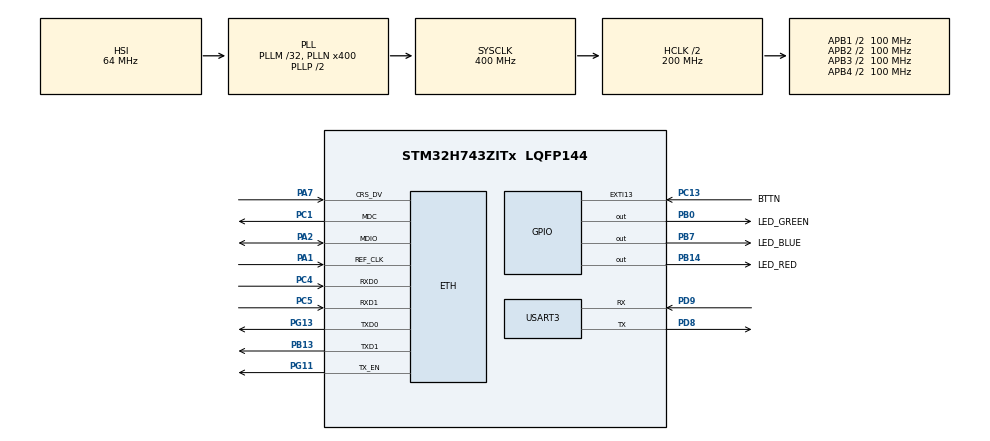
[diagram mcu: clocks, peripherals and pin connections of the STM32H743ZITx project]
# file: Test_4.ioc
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CORTEX_M7.AccessPermission_S-Cortex_Memory_Protection_Unit_Region1_Settings_S=MPU_REGION_FULL_ACCESS
CORTEX_M7.AccessPermission_S-Cortex_Memory_Protection_Unit_Region2_Settings_S=MPU_REGION_FULL_ACCESS
CORTEX_M7.BaseAddress_S-Cortex_Memory_Protection_Unit_Region1_Settings_S=0x30020000
CORTEX_M7.BaseAddress_S-Cortex_Memory_Protection_Unit_Region2_Settings_S=0x30040000
CORTEX_M7.CPU_DCache=Enabled
CORTEX_M7.CPU_ICache=Enabled
CORTEX_M7.DisableExec_S-Cortex_Memory_Protection_Unit_Region1_Settings_S=MPU_INSTRUCTION_ACCESS_DISABLE
CORTEX_M7.DisableExec_S-Cortex_Memory_Protection_Unit_Region2_Settings_S=MPU_INSTRUCTION_ACCESS_DISABLE
CORTEX_M7.Enable_S-Cortex_Memory_Protection_Unit_Region1_Settings_S=MPU_REGION_ENABLE
CORTEX_M7.Enable_S-Cortex_Memory_Protection_Unit_Region2_Settings_S=MPU_REGION_ENABLE
CORTEX_M7.IsBufferable_S-Cortex_Memory_Protection_Unit_Region2_Settings_S=MPU_ACCESS_BUFFERABLE
CORTEX_M7.IsShareable_S-Cortex_Memory_Protection_Unit_Region2_Settings_S=MPU_ACCESS_SHAREABLE
CORTEX_M7.MPU_Control=MPU_PRIVILEGED_DEFAULT
CORTEX_M7.Size_S-Cortex_Memory_Protection_Unit_Region1_Settings_S=MPU_REGION_SIZE_128KB
CORTEX_M7.Size_S-Cortex_Memory_Protection_Unit_Region2_Settings_S=MPU_REGION_SIZE_512B
CORTEX_M7.TypeExtField_S-Cortex_Memory_Protection_Unit_Region1_Settings_S=MPU_TEX_LEVEL1
CORTEX_M7.default_mode_Activation=1
Dma.Request0=USART3_TX
Dma.Request1=USART3_RX
Dma.USART3_RX.1.Direction=DMA_PERIPH_TO_MEMORY
Dma.USART3_RX.1.EventEnable=DISABLE
Dma.USART3_RX.1.FIFOMode=DMA_FIFOMODE_DISABLE
Dma.USART3_RX.1.Instance=DMA1_Stream1
Dma.USART3_RX.1.MemDataAlignment=DMA_MDATAALIGN_BYTE
Dma.USART3_RX.1.MemInc=DMA_MINC_ENABLE
Dma.USART3_RX.1.Mode=DMA_NORMAL
Dma.USART3_RX.1.PeriphDataAlignment=DMA_PDATAALIGN_BYTE
Dma.USART3_RX.1.PeriphInc=DMA_PINC_DISABLE
Dma.USART3_RX.1.Polarity=HAL_DMAMUX_REQ_GEN_RISING
Dma.USART3_RX.1.Priority=DMA_PRIORITY_VERY_HIGH
Dma.USART3_RX.1.RequestNumber=1
Dma.USART3_RX.1.SignalID=NONE
Dma.USART3_RX.1.SyncEnable=DISABLE
Dma.USART3_RX.1.SyncPolarity=HAL_DMAMUX_SYNC_NO_EVENT
Dma.USART3_RX.1.SyncRequestNumber=1
Dma.USART3_RX.1.SyncSignalID=NONE
Dma.USART3_TX.0.Direction=DMA_MEMORY_TO_PERIPH
Dma.USART3_TX.0.EventEnable=DISABLE
Dma.USART3_TX.0.FIFOMode=DMA_FIFOMODE_DISABLE
Dma.USART3_TX.0.Instance=DMA1_Stream0
Dma.USART3_TX.0.MemDataAlignment=DMA_MDATAALIGN_BYTE
Dma.USART3_TX.0.MemInc=DMA_MINC_ENABLE
Dma.USART3_TX.0.Mode=DMA_NORMAL
Dma.USART3_TX.0.PeriphDataAlignment=DMA_PDATAALIGN_BYTE
Dma.USART3_TX.0.PeriphInc=DMA_PINC_DISABLE
Dma.USART3_TX.0.Polarity=HAL_DMAMUX_REQ_GEN_RISING
Dma.USART3_TX.0.Priority=DMA_PRIORITY_MEDIUM
Dma.USART3_TX.0.RequestNumber=1
Dma.USART3_TX.0.SignalID=NONE
Dma.USART3_TX.0.SyncEnable=DISABLE
Dma.USART3_TX.0.SyncPolarity=HAL_DMAMUX_SYNC_NO_EVENT
Dma.USART3_TX.0.SyncRequestNumber=1
Dma.USART3_TX.0.SyncSignalID=NONE
ETH.MediaInterface=HAL_ETH_RMII_MODE
ETH.RxDescAddress=0x30040000
ETH.TxDescAddress=0x30040100
FREERTOS.INCLUDE_xTaskGetSchedulerState=1
FREERTOS.INCLUDE_xTimerPendFunctionCall=0
FREERTOS.Tasks01=defaultTask,24,512,StartDefaultTask,Default,NULL,Dynamic,NULL,NULL
FREERTOS.configCHECK_FOR_STACK_OVERFLOW=2
FREERTOS.configMINIMAL_STACK_SIZE=512
FREERTOS.configTOTAL_HEAP_SIZE=64000
FREERTOS.configUSE_APPLICATION_TASK_TAG=1
FREERTOS.configUSE_IDLE_HOOK=1
FREERTOS.configUSE_NEWLIB_REENTRANT=1
FREERTOS.configUSE_OS2_EVENTFLAGS_FROM_ISR=0
FREERTOS.configUSE_OS2_TIMER=0
FREERTOS.configUSE_TICK_HOOK=1
LWIP.BSP.number=1
LWIP.DEFAULT_RAW_RECVMBOX_SIZE=6
LWIP.DEFAULT_TCP_RECVMBOX_SIZE=6
LWIP.DEFAULT_THREAD_STACKSIZE=2048
LWIP.GATEWAY_ADDRESS=192.168.010.001
LWIP.HTTPD_ENABLE_HTTPS=0
LWIP.IP_ADDRESS=192.168.010.008
LWIP.LWIP_DHCP=1
LWIP.LWIP_DNS=1
LWIP.LWIP_EVENT_API=0
LWIP.LWIP_HTTPD=1
LWIP.LWIP_INCLUDED_POLARSSL_ARC4=0
LWIP.LWIP_INCLUDED_POLARSSL_DES=0
LWIP.LWIP_INCLUDED_POLARSSL_MD4=0
LWIP.LWIP_INCLUDED_POLARSSL_MD5=0
LWIP.LWIP_INCLUDED_POLARSSL_SHA1=0
LWIP.LWIP_RAM_HEAP_POINTER=0x30020200
LWIP.LWIP_RAW=1
LWIP.LWIP_SMTP=0
LWIP.LWIP_SNTP=0
LWIP.LWIP_SO_RCVTIMEO=1
LWIP.LWIP_TCP_KEEPALIVE=1
LWIP.LWIP_TIMERS=1
LWIP.LWIP_USE_EXTERNAL_MBEDTLS=1
LWIP.MEMP_NUM_NETBUF=4
LWIP.MEMP_NUM_NETCONN=8
LWIP.MEMP_NUM_SELECT_CB=8
LWIP.MEMP_NUM_TCPIP_MSG_API=16
LWIP.MEMP_NUM_TCP_PCB=10
LWIP.MEM_SIZE=130000
LWIP.NETMASK_ADDRESS=255.255.255.000
LWIP.PBUF_POOL_BUFSIZE=1528
LWIP.SLIPIF_THREAD_STACKSIZE=2048
LWIP.TCPIP_THREAD_STACKSIZE=2048
LWIP.TCP_MSS=1460
LWIP.TCP_SNDLOWAT=2921
LWIP.TCP_SND_BUF=4*1460
LWIP.TCP_WND=2920
LWIP.Version=v2.1.2_Cube
LWIP0.BSP.STBoard=false
LWIP0.BSP.api=BSP_COMPONENT_DRIVER
LWIP0.BSP.component=LAN8742
LWIP0.BSP.instance=LAN8742
LWIP0.BSP.name=Driver_PHY
LWIP0.BSP.semaphore=S_LAN8742
LWIP0.BSP.solution=LAN8742
MBEDTLS.MBEDTLS_ECP_DP_BP512R1_ENABLED=1
MBEDTLS.MBEDTLS_ECP_DP_CURVE25519_ENABLED=1
MBEDTLS.MBEDTLS_MPI_MAX_SIZE=256
MBEDTLS.MBEDTLS_MPI_MAX_SIZE_ENABLE=1
MBEDTLS.MBEDTLS_NO_UDBL_DIVISION=0
MBEDTLS.MBEDTLS_PADLOCK_C=0
MBEDTLS.MBEDTLS_PEM_WRITE_C=0
MBEDTLS.MBEDTLS_PKCS12_C=0
MBEDTLS.MBEDTLS_PKCS5_C=0
MBEDTLS.MBEDTLS_PK_WRITE_C=0
MBEDTLS.MBEDTLS_RIPEMD160_C=0
MBEDTLS.MBEDTLS_RNG_IP=HW_RNG
MBEDTLS.MBEDTLS_SSL_ALL_ALERT_MESSAGES=0
MBEDTLS.MBEDTLS_SSL_ALPN=0
MBEDTLS.MBEDTLS_SSL_CACHE_C=0
MBEDTLS.MBEDTLS_SSL_CBC_RECORD_SPLITTING=0
MBEDTLS.MBEDTLS_SSL_CIPHERSUITES_ENABLE=1
MBEDTLS.MBEDTLS_SSL_COOKIE_C=0
MBEDTLS.MBEDTLS_SSL_ENCRYPT_THEN_MAC=0
MBEDTLS.MBEDTLS_SSL_EXTENDED_MASTER_SECRET=0
MBEDTLS.MBEDTLS_SSL_FALLBACK_SCSV=0
MBEDTLS.MBEDTLS_SSL_MAX_CONTENT_LEN=4096
MBEDTLS.MBEDTLS_SSL_MAX_CONTENT_LEN_ENABLE=1
MBEDTLS.MBEDTLS_SSL_PROTO_DTLS=0
MBEDTLS.MBEDTLS_SSL_PROTO_TLS1=0
MBEDTLS.MBEDTLS_SSL_PROTO_TLS1_1=0
MBEDTLS.MBEDTLS_SSL_RENEGOTIATION=0
MBEDTLS.MBEDTLS_SSL_SRV_RESPECT_CLIENT_PREFERENCE=1
MBEDTLS.MBEDTLS_SSL_TICKET_C=0
MBEDTLS.MBEDTLS_VERSION_C=0
MBEDTLS.MBEDTLS_X509_CRL_PARSE_C=0
MBEDTLS.MBEDTLS_X509_CSR_PARSE_C=0
MBEDTLS.MBEDTLS_XTEA_C=0
Mcu.Family=STM32H7
Mcu.Name=STM32H743ZITx
Mcu.Package=LQFP144
NVIC.DMA1_Stream0_IRQn=true\:5\:0\:false\:false\:true\:true\:false\:true\:true
NVIC.DMA1_Stream1_IRQn=true\:5\:0\:false\:false\:true\:true\:false\:true\:true
NVIC.ETH_IRQn=true\:5\:0\:false\:false\:true\:true\:true\:true\:true
NVIC.EXTI15_10_IRQn=true\:5\:0\:false\:false\:true\:true\:true\:true\:true
NVIC.FLASH_IRQn=true\:5\:0\:false\:false\:true\:true\:true\:true\:true
NVIC.PriorityGroup=NVIC_PRIORITYGROUP_4
NVIC.TIM6_DAC_IRQn=true\:15\:0\:false\:false\:true\:false\:false\:true\:true
NVIC.TimeBase=TIM6_DAC_IRQn
NVIC.TimeBaseIP=TIM6
NVIC.USART3_IRQn=true\:5\:0\:false\:false\:true\:true\:true\:true\:true
PA1.GPIO_Speed=GPIO_SPEED_FREQ_VERY_HIGH
PA1.Mode=RMII
PA1.Signal=ETH_REF_CLK
PA2.GPIO_Speed=GPIO_SPEED_FREQ_VERY_HIGH
PA2.Mode=RMII
PA2.Signal=ETH_MDIO
PA7.GPIO_Speed=GPIO_SPEED_FREQ_VERY_HIGH
PA7.Mode=RMII
PA7.Signal=ETH_CRS_DV
PB0.GPIO_Label=LED_GREEN
PB0.Signal=GPIO_Output
PB13.GPIO_Speed=GPIO_SPEED_FREQ_VERY_HIGH
PB13.Mode=RMII
PB13.Signal=ETH_TXD1
PB14.GPIO_Label=LED_RED
PB14.Signal=GPIO_Output
PB7.GPIO_Label=LED_BLUE
PB7.Signal=GPIO_Output
PC1.GPIO_Speed=GPIO_SPEED_FREQ_VERY_HIGH
PC1.Mode=RMII
PC1.Signal=ETH_MDC
PC13.GPIO_Label=BTTN
PC13.GPIO_ModeDefaultEXTI=GPIO_MODE_IT_RISING_FALLING
PC13.Signal=GPXTI13
PC4.GPIO_Speed=GPIO_SPEED_FREQ_VERY_HIGH
PC4.Mode=RMII
PC4.Signal=ETH_RXD0
PC5.GPIO_Speed=GPIO_SPEED_FREQ_VERY_HIGH
PC5.Mode=RMII
PC5.Signal=ETH_RXD1
PD8.Mode=Asynchronous
PD8.Signal=USART3_TX
PD9.Mode=Asynchronous
PD9.Signal=USART3_RX
PG11.GPIO_Speed=GPIO_SPEED_FREQ_VERY_HIGH
PG11.Mode=RMII
PG11.Signal=ETH_TX_EN
PG13.GPIO_Speed=GPIO_SPEED_FREQ_VERY_HIGH
PG13.Mode=RMII
PG13.Signal=ETH_TXD0
ProjectManager.HeapSize=0x200
ProjectManager.StackSize=0x400
ProjectManager.TargetToolchain=STM32CubeIDE
RCC.ADCFreq_Value=129000000
RCC.APB1Freq_Value=100000000
RCC.APB2Freq_Value=100000000
RCC.APB3Freq_Value=100000000
RCC.APB4Freq_Value=100000000
RCC.CortexFreq_Value=400000000
RCC.D1PPRE=RCC_APB3_DIV2
RCC.D2PPRE1=RCC_APB1_DIV2
RCC.D2PPRE2=RCC_APB2_DIV2
RCC.D3PPRE=RCC_APB4_DIV2
RCC.DIVN1=400
RCC.HCLKFreq_Value=200000000
RCC.HPRE=RCC_HCLK_DIV2
RCC.SYSCLKFreq_VALUE=400000000
RCC.SYSCLKSource=RCC_SYSCLKSOURCE_PLLCLK
RCC.USBFreq_Value=400000000
USART3.VirtualMode-Asynchronous=VM_ASYNC
VP_FREERTOS_VS_CMSIS_V2.Mode=CMSIS_V2
VP_LWIP_VS_Enabled.Mode=Enabled
VP_MBEDTLS_VS_MBEDTLS.Mode=Enabled
VP_RNG_VS_RNG.Mode=RNG_Activate
VP_SYS_VS_tim6.Mode=TIM6
board=custom

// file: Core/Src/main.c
/* USER CODE BEGIN Header */
/**
  ******************************************************************************
  * @file           : main.c
  * @brief          : Main program body
  ******************************************************************************
  * @attention
  *
  * Copyright (c) 2024 STMicroelectronics.
  * All rights reserved.
  *
  * This software is licensed under terms that can be found in the LICENSE file
  * in the root directory of this software component.
  * If no LICENSE file comes with this software, it is provided AS-IS.
  *
  ******************************************************************************
  */
/* USER CODE END Header */
#include <tls_dat.h>
#include "main.h"
#include "cmsis_os.h"
//#include "mbedtls.h"

/* USER CODE BEGIN Includes */
#include "lwip.h"

#include "queue.h"
//#include "console_uart.h"
#include "tcp_proc.h"
#include "tls_proc.h"

/* USER CODE END Includes */

RNG_HandleTypeDef hrng;

UART_HandleTypeDef huart3;
DMA_HandleTypeDef hdma_usart3_tx;
DMA_HandleTypeDef hdma_usart3_rx;

/* Definitions for defaultTask */
osThreadId_t defaultTaskHandle;
const osThreadAttr_t defaultTask_attributes = {
  .name = "defaultTask",
  .stack_size = 512 * 4,
  .priority = (osPriority_t) osPriorityNormal,
};
/* USER CODE BEGIN PV */

osThreadId_t 	ConsoleTaskHandle = NULL;
osThreadId_t 	UartRxTaskHandle = NULL;
osThreadId_t 	FlashTaskHandle = NULL;
/* USER CODE END PV */

void SystemClock_Config(void);
static void MPU_Config(void);
static void MX_GPIO_Init(void);
static void MX_DMA_Init(void);
static void MX_USART3_UART_Init(void);
static void MX_RNG_Init(void);
void StartDefaultTask(void *argument);

int main(void)
{

  /* MPU Configuration--------------------------------------------------------*/
  MPU_Config();

  /* Enable the CPU Cache */

  /* Enable I-Cache---------------------------------------------------------*/
  SCB_EnableICache();

  /* Enable D-Cache---------------------------------------------------------*/
  SCB_EnableDCache();

  /* MCU Configuration--------------------------------------------------------*/

  /* Reset of all peripherals, Initializes the Flash interface and the Systick. */
  HAL_Init();

  /* Configure the system clock */
  SystemClock_Config();

  /* Initialize all configured peripherals */
  MX_GPIO_Init();
  MX_DMA_Init();
  MX_USART3_UART_Init();
  MX_RNG_Init();
  /* Call PreOsInit function */
//  MX_MBEDTLS_Init();
  /* USER CODE BEGIN 2 */
  // Reset IP-settings if button pressed 2 sec.
  	uint32_t tickstart = HAL_GetTick();
	while (HAL_GPIO_ReadPin(BTTN_GPIO_Port, BTTN_Pin) == GPIO_PIN_SET)
	{
		if (HAL_GetTick() - tickstart >= 2000)
		{
			if (ResetSettings() != 0)
				while (1)
				{

				}
			break;
		}
	}

  /* USER CODE END 2 */

  /* Init scheduler */
  osKernelInitialize();

  /* Create the thread(s) */
  /* creation of defaultTask */
  defaultTaskHandle = osThreadNew(StartDefaultTask, NULL, &defaultTask_attributes);

  /* Start scheduler */
  osKernelStart();

  /* We should never get here as control is now taken by the scheduler */

  /* Infinite loop */
  while (1)
  {

  }
}

void SystemClock_Config(void)
{
  RCC_OscInitTypeDef RCC_OscInitStruct = {0};
  RCC_ClkInitTypeDef RCC_ClkInitStruct = {0};

  /** Supply configuration update enable
  */
  HAL_PWREx_ConfigSupply(PWR_LDO_SUPPLY);

  /** Configure the main internal regulator output voltage
  */
  __HAL_PWR_VOLTAGESCALING_CONFIG(PWR_REGULATOR_VOLTAGE_SCALE1);

  while(!__HAL_PWR_GET_FLAG(PWR_FLAG_VOSRDY)) {}

  /** Initializes the RCC Oscillators according to the specified parameters
  * in the RCC_OscInitTypeDef structure.
  */
  RCC_OscInitStruct.OscillatorType = RCC_OSCILLATORTYPE_HSI48|RCC_OSCILLATORTYPE_HSI;
  RCC_OscInitStruct.HSIState = RCC_HSI_DIV1;
  RCC_OscInitStruct.HSICalibrationValue = RCC_HSICALIBRATION_DEFAULT;
  RCC_OscInitStruct.HSI48State = RCC_HSI48_ON;
  RCC_OscInitStruct.PLL.PLLState = RCC_PLL_ON;
  RCC_OscInitStruct.PLL.PLLSource = RCC_PLLSOURCE_HSI;
  RCC_OscInitStruct.PLL.PLLM = 32;
  RCC_OscInitStruct.PLL.PLLN = 400;
  RCC_OscInitStruct.PLL.PLLP = 2;
  RCC_OscInitStruct.PLL.PLLQ = 2;
  RCC_OscInitStruct.PLL.PLLR = 2;
  RCC_OscInitStruct.PLL.PLLRGE = RCC_PLL1VCIRANGE_1;
  RCC_OscInitStruct.PLL.PLLVCOSEL = RCC_PLL1VCOWIDE;
  RCC_OscInitStruct.PLL.PLLFRACN = 0;
  if (HAL_RCC_OscConfig(&RCC_OscInitStruct) != HAL_OK)
  {
    Error_Handler();
  }

  /** Initializes the CPU, AHB and APB buses clocks
  */
  RCC_ClkInitStruct.ClockType = RCC_CLOCKTYPE_HCLK|RCC_CLOCKTYPE_SYSCLK
                              |RCC_CLOCKTYPE_PCLK1|RCC_CLOCKTYPE_PCLK2
                              |RCC_CLOCKTYPE_D3PCLK1|RCC_CLOCKTYPE_D1PCLK1;
  RCC_ClkInitStruct.SYSCLKSource = RCC_SYSCLKSOURCE_PLLCLK;
  RCC_ClkInitStruct.SYSCLKDivider = RCC_SYSCLK_DIV1;
  RCC_ClkInitStruct.AHBCLKDivider = RCC_HCLK_DIV2;
  RCC_ClkInitStruct.APB3CLKDivider = RCC_APB3_DIV2;
  RCC_ClkInitStruct.APB1CLKDivider = RCC_APB1_DIV2;
  RCC_ClkInitStruct.APB2CLKDivider = RCC_APB2_DIV2;
  RCC_ClkInitStruct.APB4CLKDivider = RCC_APB4_DIV2;

  if (HAL_RCC_ClockConfig(&RCC_ClkInitStruct, FLASH_LATENCY_2) != HAL_OK)
  {
    Error_Handler();
  }
}

static void MX_RNG_Init(void)
{

  hrng.Instance = RNG;
  hrng.Init.ClockErrorDetection = RNG_CED_ENABLE;
  if (HAL_RNG_Init(&hrng) != HAL_OK)
  {
    Error_Handler();
  }

}

static void MX_USART3_UART_Init(void)
{

  huart3.Instance = USART3;
  huart3.Init.BaudRate = 115200;
  huart3.Init.WordLength = UART_WORDLENGTH_8B;
  huart3.Init.StopBits = UART_STOPBITS_1;
  huart3.Init.Parity = UART_PARITY_NONE;
  huart3.Init.Mode = UART_MODE_TX_RX;
  huart3.Init.HwFlowCtl = UART_HWCONTROL_NONE;
  huart3.Init.OverSampling = UART_OVERSAMPLING_16;
  huart3.Init.OneBitSampling = UART_ONE_BIT_SAMPLE_DISABLE;
  huart3.Init.ClockPrescaler = UART_PRESCALER_DIV1;
  huart3.AdvancedInit.AdvFeatureInit = UART_ADVFEATURE_NO_INIT;
  if (HAL_UART_Init(&huart3) != HAL_OK)
  {
    Error_Handler();
  }
  if (HAL_UARTEx_SetTxFifoThreshold(&huart3, UART_TXFIFO_THRESHOLD_1_8) != HAL_OK)
  {
    Error_Handler();
  }
  if (HAL_UARTEx_SetRxFifoThreshold(&huart3, UART_RXFIFO_THRESHOLD_1_8) != HAL_OK)
  {
    Error_Handler();
  }
  if (HAL_UARTEx_DisableFifoMode(&huart3) != HAL_OK)
  {
    Error_Handler();
  }

}

static void MX_DMA_Init(void)
{

  /* DMA controller clock enable */
  __HAL_RCC_DMA1_CLK_ENABLE();

  /* DMA interrupt init */
  /* DMA1_Stream0_IRQn interrupt configuration */
  HAL_NVIC_SetPriority(DMA1_Stream0_IRQn, 5, 0);
  HAL_NVIC_EnableIRQ(DMA1_Stream0_IRQn);
  /* DMA1_Stream1_IRQn interrupt configuration */
  HAL_NVIC_SetPriority(DMA1_Stream1_IRQn, 5, 0);
  HAL_NVIC_EnableIRQ(DMA1_Stream1_IRQn);

}

static void MX_GPIO_Init(void)
{
  GPIO_InitTypeDef GPIO_InitStruct = {0};

  /* GPIO Ports Clock Enable */
  __HAL_RCC_GPIOC_CLK_ENABLE();
  __HAL_RCC_GPIOA_CLK_ENABLE();
  __HAL_RCC_GPIOB_CLK_ENABLE();
  __HAL_RCC_GPIOD_CLK_ENABLE();
  __HAL_RCC_GPIOG_CLK_ENABLE();

  /*Configure GPIO pin Output Level */
  HAL_GPIO_WritePin(GPIOB, LED_GREEN_Pin|LED_RED_Pin|LED_BLUE_Pin, GPIO_PIN_RESET);

  /*Configure GPIO pin : BTTN_Pin */
  GPIO_InitStruct.Pin = BTTN_Pin;
  GPIO_InitStruct.Mode = GPIO_MODE_IT_RISING_FALLING;
  GPIO_InitStruct.Pull = GPIO_NOPULL;
  HAL_GPIO_Init(BTTN_GPIO_Port, &GPIO_InitStruct);

  /*Configure GPIO pins : LED_GREEN_Pin LED_RED_Pin LED_BLUE_Pin */
  GPIO_InitStruct.Pin = LED_GREEN_Pin|LED_RED_Pin|LED_BLUE_Pin;
  GPIO_InitStruct.Mode = GPIO_MODE_OUTPUT_PP;
  GPIO_InitStruct.Pull = GPIO_NOPULL;
  GPIO_InitStruct.Speed = GPIO_SPEED_FREQ_LOW;
  HAL_GPIO_Init(GPIOB, &GPIO_InitStruct);

  /* EXTI interrupt init*/
  HAL_NVIC_SetPriority(EXTI15_10_IRQn, 5, 0);
  HAL_NVIC_EnableIRQ(EXTI15_10_IRQn);

}

void StartDefaultTask(void *argument)
{
  /* USER CODE BEGIN 5 */
	/* init code for LWIP */
	  MX_LWIP_Init();

	  ConsoleTaskHandle = StartConsoleTask();
	  UartRxTaskHandle = StartUartRxTask();
	  FlashTaskHandle = StartFlashProcess();

//	RunAppTcpServer (HTTPS_SERVER_PORT);
//	RunAppTcpServer (HTTP_SERVER_PORT);
	  RunAppTcpClient (SMTP_PORT);

//	  osThreadExit();
  /* Infinite loop */
  for(;;)
  {
	  HAL_GPIO_TogglePin(LED_RED_GPIO_Port, LED_RED_Pin);
	  osDelay(1000);
  }
  /* USER CODE END 5 */
}

 /* MPU Configuration */

void MPU_Config(void)
{
  MPU_Region_InitTypeDef MPU_InitStruct = {0};

  /* Disables the MPU */
  HAL_MPU_Disable();

  /** Initializes and configures the Region and the memory to be protected
  */
  MPU_InitStruct.Enable = MPU_REGION_ENABLE;
  MPU_InitStruct.Number = MPU_REGION_NUMBER0;
  MPU_InitStruct.BaseAddress = 0x0;
  MPU_InitStruct.Size = MPU_REGION_SIZE_4GB;
  MPU_InitStruct.SubRegionDisable = 0x87;
  MPU_InitStruct.TypeExtField = MPU_TEX_LEVEL0;
  MPU_InitStruct.AccessPermission = MPU_REGION_NO_ACCESS;
  MPU_InitStruct.DisableExec = MPU_INSTRUCTION_ACCESS_DISABLE;
  MPU_InitStruct.IsShareable = MPU_ACCESS_SHAREABLE;
  MPU_InitStruct.IsCacheable = MPU_ACCESS_NOT_CACHEABLE;
  MPU_InitStruct.IsBufferable = MPU_ACCESS_NOT_BUFFERABLE;

  HAL_MPU_ConfigRegion(&MPU_InitStruct);

  /** Initializes and configures the Region and the memory to be protected
  */
  MPU_InitStruct.Number = MPU_REGION_NUMBER1;
  MPU_InitStruct.BaseAddress = 0x30020000;
  MPU_InitStruct.Size = MPU_REGION_SIZE_128KB;
  MPU_InitStruct.SubRegionDisable = 0x0;
  MPU_InitStruct.TypeExtField = MPU_TEX_LEVEL1;
  MPU_InitStruct.AccessPermission = MPU_REGION_FULL_ACCESS;
  MPU_InitStruct.IsShareable = MPU_ACCESS_NOT_SHAREABLE;

  HAL_MPU_ConfigRegion(&MPU_InitStruct);

  /** Initializes and configures the Region and the memory to be protected
  */
  MPU_InitStruct.Number = MPU_REGION_NUMBER2;
  MPU_InitStruct.BaseAddress = 0x30040000;
  MPU_InitStruct.Size = MPU_REGION_SIZE_512B;
  MPU_InitStruct.TypeExtField = MPU_TEX_LEVEL0;
  MPU_InitStruct.IsShareable = MPU_ACCESS_SHAREABLE;
  MPU_InitStruct.IsBufferable = MPU_ACCESS_BUFFERABLE;

  HAL_MPU_ConfigRegion(&MPU_InitStruct);
  /* Enables the MPU */
  HAL_MPU_Enable(MPU_PRIVILEGED_DEFAULT);

}

void HAL_TIM_PeriodElapsedCallback(TIM_HandleTypeDef *htim)
{
  if (htim->Instance == TIM6) {
    HAL_IncTick();
  }
}

void Error_Handler(void)
{
  /* USER CODE BEGIN Error_Handler_Debug */
  /* User can add his own implementation to report the HAL error return state */
  __disable_irq();
  while (1)
  {
	  NVIC_SystemReset();
  }
  /* USER CODE END Error_Handler_Debug */
}

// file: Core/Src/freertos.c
/* USER CODE BEGIN Header */
/**
  ******************************************************************************
  * File Name          : freertos.c
  * Description        : Code for freertos applications
  ******************************************************************************
  * @attention
  *
  * Copyright (c) 2024 STMicroelectronics.
  * All rights reserved.
  *
  * This software is licensed under terms that can be found in the LICENSE file
  * in the root directory of this software component.
  * If no LICENSE file comes with this software, it is provided AS-IS.
  *
  ******************************************************************************
  */
/* USER CODE END Header */

#include "FreeRTOS.h"
#include "task.h"
#include "main.h"

/* USER CODE BEGIN FunctionPrototypes */
extern void GetPingRes (void);
/* USER CODE END FunctionPrototypes */

/* Hook prototypes */
void vApplicationIdleHook(void);
void vApplicationTickHook(void);
void vApplicationStackOverflowHook(xTaskHandle xTask, signed char *pcTaskName);

/* USER CODE BEGIN 2 */
void vApplicationIdleHook( void )
{
   /* vApplicationIdleHook() will only be called if configUSE_IDLE_HOOK is set
   to 1 in FreeRTOSConfig.h. It will be called on each iteration of the idle
   task. It is essential that code added to this hook function never attempts
   to block in any way (for example, call xQueueReceive() with a block time
   specified, or call vTaskDelay()). If the application makes use of the
   vTaskDelete() API function (as this demo application does) then it is also
   important that vApplicationIdleHook() is permitted to return to its calling
   function, because it is the responsibility of the idle task to clean up
   memory allocated by the kernel to any task that has since been deleted. */
	GetPingRes();
}
/* USER CODE END 2 */

/* USER CODE BEGIN 3 */
void vApplicationTickHook( void )
{
   /* This function will be called by each tick interrupt if
   configUSE_TICK_HOOK is set to 1 in FreeRTOSConfig.h. User code can be
   added here, but the tick hook is called from an interrupt context, so
   code must not attempt to block, and only the interrupt safe FreeRTOS API
   functions can be used (those that end in FromISR()). */
}
/* USER CODE END 3 */

/* USER CODE BEGIN 4 */
void vApplicationStackOverflowHook(xTaskHandle xTask, signed char *pcTaskName)
{
   /* Run time stack overflow checking is performed if
   configCHECK_FOR_STACK_OVERFLOW is defined to 1 or 2. This hook function is
   called if a stack overflow is detected. */
	while (1);
}
/* USER CODE END 4 */
